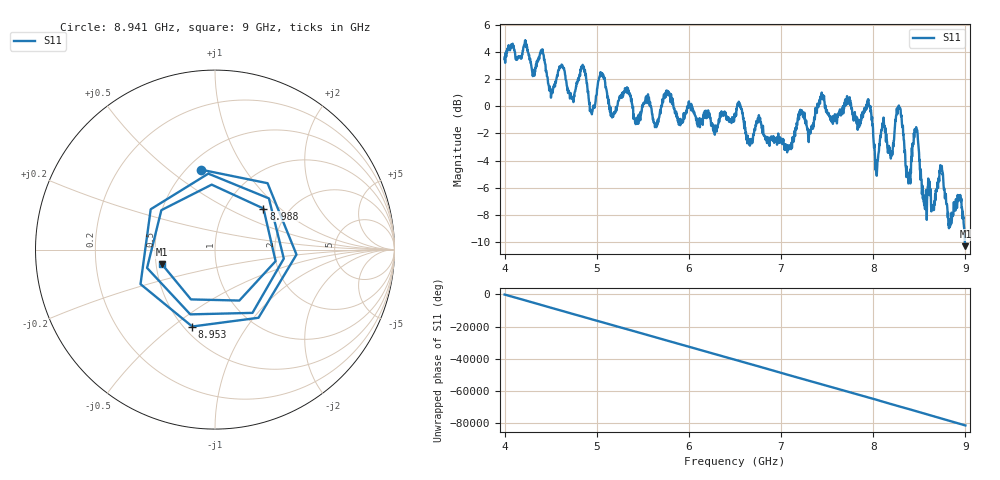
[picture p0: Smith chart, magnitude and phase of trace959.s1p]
! Created with skrf 1.8.0 (http://scikit-rf.org).
# Hz S RI R 50.0
!freq ReS11 ImS11
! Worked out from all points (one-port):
!   1601 points, 4 GHz to 9 GHz, reference 50 ohm
!   lowest |S11| = -10.3 dB at 9 GHz (marker M1), VSWR 1.88, Z = 26.9 - j4.92 ohm
!   |S11| at or under -10 dB: 8.993827 GHz to end of sweep
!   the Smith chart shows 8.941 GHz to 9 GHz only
!   S11 on the Smith chart (normalised r, x): 8.941 GHz: 0.59, +0.66; 8.953 GHz: 0.55, -0.59; 8.988 GHz: 1.49, +0.78; 9 GHz: 0.54, -0.10
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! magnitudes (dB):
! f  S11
! 4 GHz  3.5
! 4.406 GHz  4.1
! 4.509 GHz  1.0
! 4.625 GHz  3.0
! 4.731 GHz  0.6
! 4.856 GHz  2.8
! 4.95 GHz  -0.4
! 5.047 GHz  2.3
! 5.162 GHz  -0.6
! 5.25 GHz  0.7
! 5.875 GHz  -0.8
! 6.5 GHz  -0.6
! 7.125 GHz  -2.6
! 7.441 GHz  1.0
! 7.75 GHz  0.4
! 7.956 GHz  0.0
! 8.038 GHz  -5.1
! 8.2 GHz  -3.6
! 8.281 GHz  -0.1
! 8.375 GHz  -5.2
! 8.462 GHz  -1.7
! 8.562 GHz  -7.6
! 8.734 GHz  -4.7
! 8.831 GHz  -8.9
! 8.941 GHz  -6.9
! 8.953 GHz  -7.0
! 8.988 GHz  -9.0
! 9 GHz  -10.3
